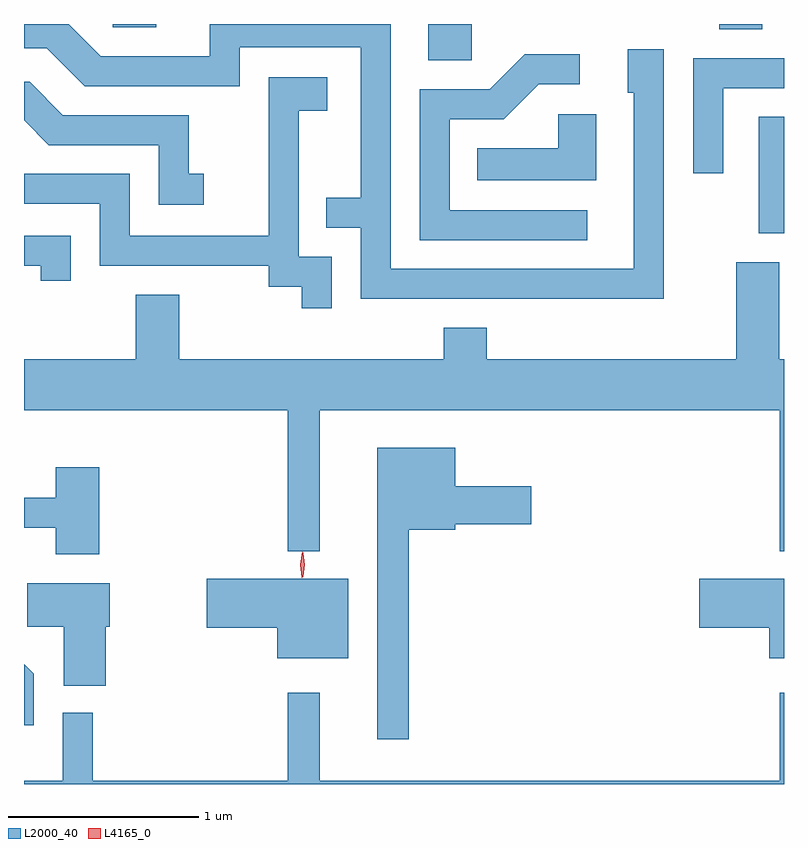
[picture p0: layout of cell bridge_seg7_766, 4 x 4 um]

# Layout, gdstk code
import gdstk
lib = gdstk.Library(unit=1e-6, precision=1e-09)
def R(c, l, rs):  # rectangles x0, y0, x1, y1
    for r in rs: c.add(gdstk.rectangle(r[:2], r[2:], *l))
def P(c, l, *ps):  # polygons
    for p in ps: c.add(gdstk.Polygon(p, *l))
L2000_40 = (2000, 40)
L4165_0 = (4165, 0)

bridge_seg7_766 = lib.new_cell('bridge_seg7_766')
R(bridge_seg7_766, L2000_40, [(212.281,1768.526,212.413,1769.139), (210.541,1769.436,210.769,1769.628), (212.071,1769.601,212.299,1769.628), (208.881,1769.611,209.109,1769.628)])
P(bridge_seg7_766, L2000_40, [(211.779,1769.494),(211.591,1769.494),(211.591,1769.266),(211.621,1769.266),(211.621,1768.339),(210.344,1768.339),(210.344,1769.628),(209.391,1769.628),(209.391,1769.459),(208.817,1769.459),(208.648,1769.628),(208.413,1769.628),(208.413,1769.501),(208.534,1769.501),(208.734,1769.301),(209.549,1769.301),(209.549,1769.506),(210.186,1769.506),(210.186,1768.714),(210.003,1768.714),(210.003,1768.556),(210.186,1768.556),(210.186,1768.181),(211.779,1768.181)],
  [(211.378,1768.649),(210.654,1768.649),(210.654,1769.126),(210.937,1769.126),(211.122,1769.311),(211.338,1769.311),(211.338,1769.469),(211.049,1769.469),(210.864,1769.284),(210.496,1769.284),(210.496,1768.491),(211.378,1768.491)],
  [(212.094,1769.291),(212.413,1769.291),(212.413,1769.449),(211.936,1769.449),(211.936,1768.843),(212.094,1768.843)],
  [(210.034,1768.404),(209.859,1768.404),(209.859,1769.171),(210.009,1769.171),(210.009,1769.349),(209.701,1769.349),(209.701,1768.514),(208.969,1768.514),(208.969,1768.839),(208.413,1768.839),(208.413,1768.681),(208.811,1768.681),(208.811,1768.356),(209.701,1768.356),(209.701,1768.246),(209.876,1768.246),(209.876,1768.133),(210.034,1768.133)],
  [(209.358,1768.839),(209.279,1768.839),(209.279,1769.149),(208.617,1769.149),(208.442,1769.324),(208.413,1769.324),(208.413,1769.122),(208.544,1768.991),(209.121,1768.991),(209.121,1768.676),(209.358,1768.676)],
  [(211.424,1769.154),(211.226,1769.154),(211.226,1768.974),(210.798,1768.974),(210.798,1768.806),(211.424,1768.806)],
  [(208.659,1768.514),(208.413,1768.514),(208.413,1768.356),(208.501,1768.356),(208.501,1768.278),(208.659,1768.278)],
  [(209.969,1767.596),(212.391,1767.596),(212.391,1766.853),(212.413,1766.853),(212.413,1767.864),(212.389,1767.864),(212.389,1768.374),(212.161,1768.374),(212.161,1767.864),(210.849,1767.864),(210.849,1768.029),(210.621,1768.029),(210.621,1767.864),(209.229,1767.864),(209.229,1768.204),(209.001,1768.204),(209.001,1767.864),(208.413,1767.864),(208.413,1767.596),(209.801,1767.596),(209.801,1766.853),(209.969,1766.853)],
  [(210.439,1766.966),(210.684,1766.966),(210.684,1766.996),(211.084,1766.996),(211.084,1767.194),(210.684,1767.194),(210.684,1767.399),(210.271,1767.399),(210.271,1765.863),(210.439,1765.863)],
  [(208.809,1767.294),(208.581,1767.294),(208.581,1767.134),(208.413,1767.134),(208.413,1766.976),(208.581,1766.976),(208.581,1766.836),(208.809,1766.836)],
  [(212.413,1766.709),(211.966,1766.709),(211.966,1766.451),(212.336,1766.451),(212.336,1766.291),(212.413,1766.291)],
  [(210.119,1766.709),(209.376,1766.709),(209.376,1766.451),(209.746,1766.451),(209.746,1766.291),(210.119,1766.291)],
  [(208.844,1766.456),(208.864,1766.456),(208.864,1766.684),(208.431,1766.684),(208.431,1766.456),(208.621,1766.456),(208.621,1766.146),(208.844,1766.146)],
  [(208.464,1766.207),(208.413,1766.258),(208.413,1765.936),(208.464,1765.936)],
  [(212.413,1766.108),(212.391,1766.108),(212.391,1765.644),(209.969,1765.644),(209.969,1766.108),(209.801,1766.108),(209.801,1765.644),(208.774,1765.644),(208.774,1766.003),(208.616,1766.003),(208.616,1765.644),(208.413,1765.644),(208.413,1765.628),(212.413,1765.628)])
P(bridge_seg7_766, L4165_0, [(209.876,1766.714),(209.876,1766.714),(209.867,1766.782),(209.877,1766.85),(209.878,1766.85),(209.878,1766.85),(209.887,1766.782),(209.877,1766.714)],
  [(209.881,1766.72),(209.871,1766.783),(209.881,1766.846),(209.882,1766.847),(209.882,1766.846),(209.891,1766.783),(209.882,1766.72),(209.882,1766.72)])

lib.write_gds('bridge_seg7_766.gds')
